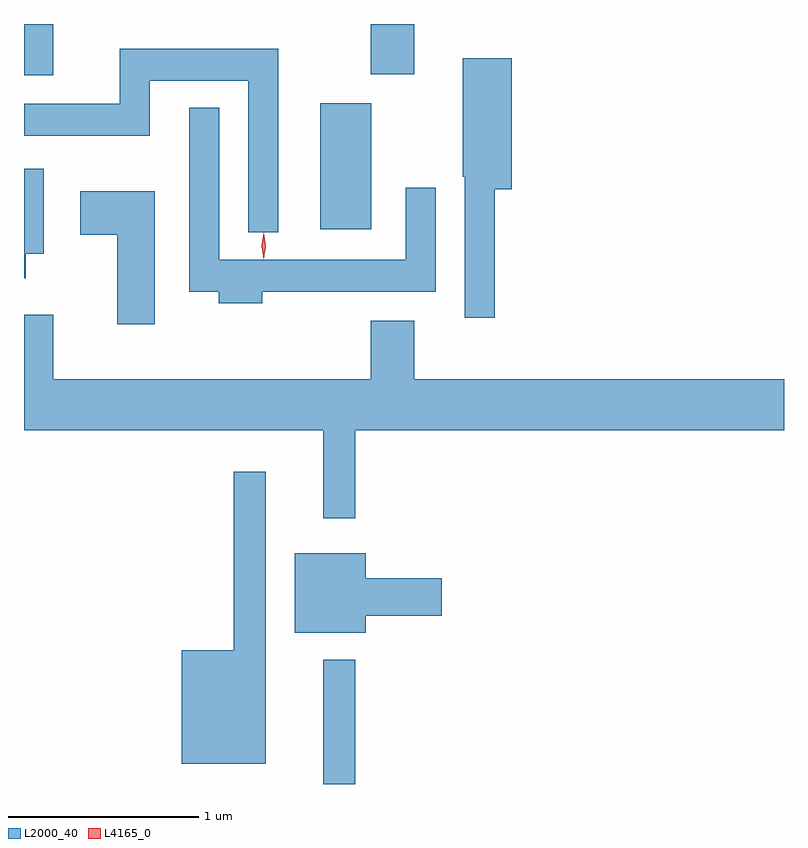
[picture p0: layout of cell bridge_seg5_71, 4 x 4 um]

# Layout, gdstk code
import gdstk
lib = gdstk.Library(unit=1e-6, precision=1e-09)
def R(c, l, rs):  # rectangles x0, y0, x1, y1
    for r in rs: c.add(gdstk.rectangle(r[:2], r[2:], *l))
def P(c, l, *ps):  # polygons
    for p in ps: c.add(gdstk.Polygon(p, *l))
L2000_40 = (2000, 40)
L4165_0 = (4165, 0)

bridge_seg5_71 = lib.new_cell('bridge_seg5_71')
R(bridge_seg5_71, L2000_40, [(1217.231,1474.915,1217.399,1475.568), (1217.216,1477.836,1217.484,1478.499), (1215.656,1478.646,1215.809,1478.915), (1217.481,1478.651,1217.709,1478.915)])
P(bridge_seg5_71, L2000_40, [(1216.994,1478.784),(1216.161,1478.784),(1216.161,1478.494),(1215.656,1478.494),(1215.656,1478.326),(1216.319,1478.326),(1216.319,1478.616),(1216.836,1478.616),(1216.836,1477.818),(1216.994,1477.818)],
  [(1218.134,1478.046),(1218.224,1478.046),(1218.224,1478.734),(1217.966,1478.734),(1217.966,1478.11),(1217.976,1478.11),(1217.976,1477.368),(1218.134,1477.368)],
  [(1216.909,1477.506),(1217.824,1477.506),(1217.824,1478.053),(1217.666,1478.053),(1217.666,1477.674),(1216.684,1477.674),(1216.684,1478.473),(1216.526,1478.473),(1216.526,1477.506),(1216.681,1477.506),(1216.681,1477.446),(1216.909,1477.446)],
  [(1215.664,1477.706),(1215.759,1477.706),(1215.759,1478.154),(1215.656,1478.154),(1215.656,1477.576),(1215.664,1477.576)],
  [(1216.344,1478.034),(1215.951,1478.034),(1215.951,1477.806),(1216.146,1477.806),(1216.146,1477.336),(1216.344,1477.336)],
  [(1217.399,1476.776),(1219.656,1476.776),(1219.656,1477.044),(1217.709,1477.044),(1217.709,1477.354),(1217.481,1477.354),(1217.481,1477.044),(1215.809,1477.044),(1215.809,1477.384),(1215.656,1477.384),(1215.656,1476.776),(1217.231,1476.776),(1217.231,1476.313),(1217.399,1476.313)],
  [(1216.929,1476.558),(1216.761,1476.558),(1216.761,1475.619),(1216.486,1475.619),(1216.486,1475.021),(1216.929,1475.021)],
  [(1217.454,1475.801),(1217.854,1475.801),(1217.854,1475.999),(1217.454,1475.999),(1217.454,1476.129),(1217.081,1476.129),(1217.081,1475.711),(1217.454,1475.711)])
P(bridge_seg5_71, L4165_0, [(1216.917,1477.679),(1216.917,1477.68),(1216.908,1477.746),(1216.917,1477.812),(1216.917,1477.813),(1216.918,1477.812),(1216.927,1477.746),(1216.918,1477.68)],
  [(1216.917,1477.677),(1216.908,1477.747),(1216.917,1477.816),(1216.918,1477.816),(1216.918,1477.816),(1216.928,1477.747),(1216.918,1477.677),(1216.918,1477.677)])

lib.write_gds('bridge_seg5_71.gds')
